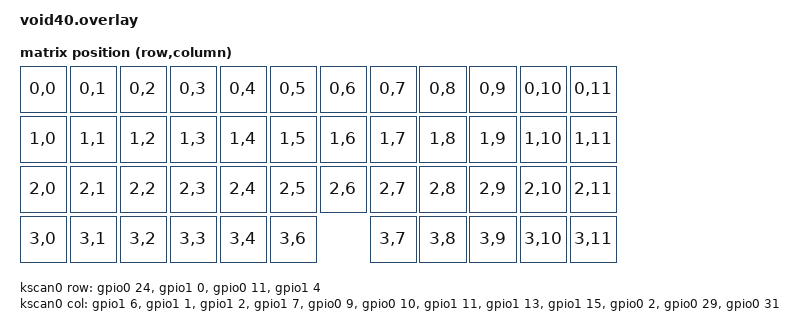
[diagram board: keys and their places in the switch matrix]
/*
 * Copyright (c) 2025 Alexis Williams
 *
 * SPDX-License-Identifier: MIT
 */

#include <dt-bindings/zmk/matrix_transform.h>
#include <dt-bindings/gpio/gpio.h>
#include <dt-bindings/i2c/i2c.h>
#include <layouts/common/ortho_4x12/1x2u.dtsi>

/ {
    chosen {
        zmk,kscan = &kscan0;
        zmk,physical_layout = &layout_ortho_4x12_1x2u;
        zephyr,display = &oled;
        zmk,battery = &vbatt;
    };

    default_transform: keymap_transform_0 {
        compatible = "zmk,matrix-transform";
        columns = <12>;
        rows = <4>;
        // RC(row,col) - 4x12 matrix for 47-key Planck layout with 2u spacebar
        map = <
RC(0,0) RC(0,1) RC(0,2) RC(0,3) RC(0,4) RC(0,5) RC(0,6) RC(0,7) RC(0,8) RC(0,9) RC(0,10) RC(0,11)
RC(1,0) RC(1,1) RC(1,2) RC(1,3) RC(1,4) RC(1,5) RC(1,6) RC(1,7) RC(1,8) RC(1,9) RC(1,10) RC(1,11)
RC(2,0) RC(2,1) RC(2,2) RC(2,3) RC(2,4) RC(2,5) RC(2,6) RC(2,7) RC(2,8) RC(2,9) RC(2,10) RC(2,11)
RC(3,0) RC(3,1) RC(3,2) RC(3,3) RC(3,4)     RC(3,6)     RC(3,7) RC(3,8) RC(3,9) RC(3,10) RC(3,11)
        >;
    };

    kscan0: kscan {
        compatible = "zmk,kscan-gpio-matrix";
        label = "default_kscan";
        diode-direction = "col2row";

        wakeup-source;

        // Hand-wired VOID40 pin assignments
        row-gpios
            = <&gpio0 24 (GPIO_ACTIVE_HIGH | GPIO_PULL_DOWN)>  // Row 0: P0.24
            , <&gpio1 0  (GPIO_ACTIVE_HIGH | GPIO_PULL_DOWN)>  // Row 1: P1.00
            , <&gpio0 11 (GPIO_ACTIVE_HIGH | GPIO_PULL_DOWN)>  // Row 2: P0.11
            , <&gpio1 4  (GPIO_ACTIVE_HIGH | GPIO_PULL_DOWN)>  // Row 3: P1.04
            ;

        col-gpios
            = <&gpio1 6  GPIO_ACTIVE_HIGH>
            , <&gpio1 1  GPIO_ACTIVE_HIGH>
            , <&gpio1 2  GPIO_ACTIVE_HIGH>
            , <&gpio1 7  GPIO_ACTIVE_HIGH>
            , <&gpio0 9  GPIO_ACTIVE_HIGH>
            , <&gpio0 10 GPIO_ACTIVE_HIGH>
            , <&gpio1 11 GPIO_ACTIVE_HIGH>
            , <&gpio1 13 GPIO_ACTIVE_HIGH>
            , <&gpio1 15 GPIO_ACTIVE_HIGH>
            , <&gpio0 2  GPIO_ACTIVE_HIGH>
            , <&gpio0 29 GPIO_ACTIVE_HIGH>
            , <&gpio0 31 GPIO_ACTIVE_HIGH>
            ;
    };

    vbatt: vbatt {
        compatible = "zmk,battery-nrf-vddh";
    };
};

&layout_ortho_4x12_1x2u {
    transform = <&default_transform>;
};

&i2c0 {
    status = "okay";
    clock-frequency = <I2C_BITRATE_FAST>;

    oled: ssd1306@3c {
        compatible = "solomon,ssd1306fb";
        reg = <0x3c>;
        label = "DISPLAY";
        width = <128>;
        height = <64>;
        segment-offset = <0>;
        page-offset = <0>;
        display-offset = <0>;
        multiplex-ratio = <63>;
        segment-remap;
        com-invdir;
        com-sequential;
        inversion-on;
        prechargep = <0x22>;
    };
};
